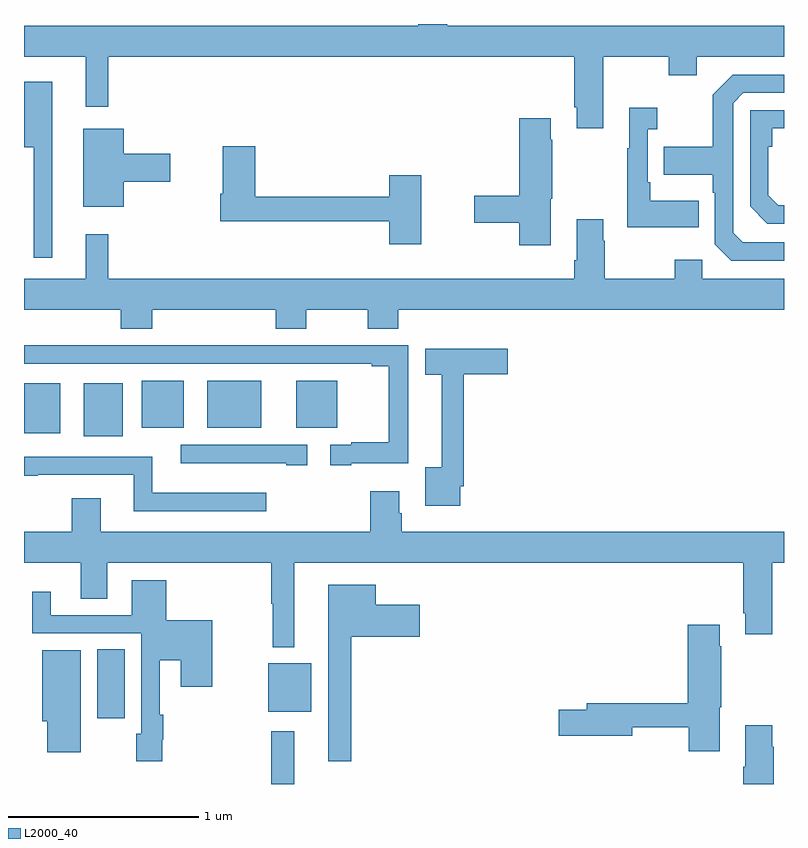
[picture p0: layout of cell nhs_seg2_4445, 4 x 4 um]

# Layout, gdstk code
import gdstk
lib = gdstk.Library(unit=1e-6, precision=1e-09)
def R(c, l, rs):  # rectangles x0, y0, x1, y1
    for r in rs: c.add(gdstk.rectangle(r[:2], r[2:], *l))
def P(c, l, *ps):  # polygons
    for p in ps: c.add(gdstk.Polygon(p, *l))
L2000_40 = (2000, 40)

nhs_seg2_4445 = lib.new_cell('nhs_seg2_4445')
R(nhs_seg2_4445, L2000_40, [(352.302,651.8,352.423,652.078), (351.386,652.146,351.529,652.508), (352.286,652.181,352.513,652.435), (351.314,653.63,351.52,653.908), (351,653.645,351.19,653.908), (351.62,653.675,351.841,653.923), (351.965,653.675,352.249,653.923), (352.433,653.675,352.648,653.923)])
P(nhs_seg2_4445, L2000_40, [(354.049,655.628),(354.394,655.628),(354.394,655.529),(354.541,655.529),(354.541,655.628),(355,655.628),(355,655.792),(353.227,655.792),(353.227,655.8),(353.075,655.8),(353.075,655.792),(351,655.792),(351,655.628),(351.326,655.628),(351.326,655.365),(351.443,655.365),(351.443,655.628),(353.897,655.628),(353.897,655.363),(353.909,655.363),(353.909,655.251),(354.049,655.251)],
  [(355,654.651),(354.783,654.651),(354.732,654.702),(354.732,655.383),(354.786,655.437),(355,655.437),(355,655.533),(354.729,655.533),(354.624,655.427),(354.624,655.155),(354.367,655.155),(354.367,655.007),(354.624,655.007),(354.624,654.911),(354.636,654.911),(354.636,654.642),(354.723,654.555),(355,654.555)],
  [(351.148,655.495),(351,655.495),(351,655.151),(351.051,655.151),(351.051,654.57),(351.148,654.57)],
  [(354.551,654.871),(354.295,654.871),(354.295,654.967),(354.282,654.967),(354.282,655.247),(354.334,655.247),(354.334,655.36),(354.185,655.36),(354.185,655.147),(354.174,655.147),(354.174,654.731),(354.551,654.731)],
  [(355,654.847),(354.971,654.847),(354.918,654.9),(354.918,655.154),(354.938,655.154),(354.938,655.251),(355,655.251),(355,655.347),(354.822,655.347),(354.822,654.84),(354.912,654.75),(355,654.75)],
  [(353.773,654.879),(353.781,654.879),(353.781,655.19),(353.773,655.19),(353.773,655.303),(353.606,655.303),(353.606,654.896),(353.37,654.896),(353.37,654.754),(353.606,654.754),(353.606,654.636),(353.773,654.636)],
  [(351.526,654.971),(351.769,654.971),(351.769,655.118),(351.526,655.118),(351.526,655.249),(351.311,655.249),(351.311,654.839),(351.526,654.839)],
  [(353.092,655.003),(352.922,655.003),(352.922,654.89),(352.217,654.89),(352.217,655.156),(352.046,655.156),(352.046,654.907),(352.034,654.907),(352.034,654.762),(352.922,654.762),(352.922,654.642),(353.092,654.642)],
  [(351.674,654.296),(352.325,654.296),(352.325,654.197),(352.485,654.197),(352.485,654.296),(352.81,654.296),(352.81,654.197),(352.97,654.197),(352.97,654.296),(355,654.296),(355,654.46),(354.57,654.46),(354.57,654.559),(354.424,654.559),(354.424,654.46),(354.057,654.46),(354.057,654.659),(354.049,654.659),(354.049,654.772),(353.909,654.772),(353.909,654.556),(353.897,654.556),(353.897,654.46),(351.443,654.46),(351.443,654.694),(351.326,654.694),(351.326,654.46),(351,654.46),(351,654.296),(351.509,654.296),(351.509,654.197),(351.674,654.197)],
  [(352.723,653.489),(353.023,653.489),(353.023,654.108),(352.721,654.108),(352.721,654.11),(352.573,654.11),(352.573,654.108),(352.241,654.108),(352.241,654.11),(351.757,654.11),(351.757,654.108),(351.425,654.108),(351.425,654.11),(351,654.11),(351,654.012),(352.829,654.012),(352.829,654),(352.921,654),(352.921,653.599),(352.723,653.599),(352.723,653.586),(352.611,653.586),(352.611,653.478),(352.723,653.478)],
  [(353.296,653.368),(353.315,653.368),(353.315,653.957),(353.545,653.957),(353.545,654.091),(353.111,654.091),(353.111,653.954),(353.198,653.954),(353.198,653.467),(353.111,653.467),(353.111,653.264),(353.296,653.264)],
  [(352.492,653.586),(351.825,653.586),(351.825,653.489),(352.379,653.489),(352.379,653.478),(352.492,653.478)],
  [(352.276,653.332),(351.676,653.332),(351.676,653.523),(351,653.523),(351,653.422),(351.073,653.422),(351.073,653.427),(351.578,653.427),(351.578,653.235),(352.276,653.235)],
  [(352.423,652.964),(354.785,652.964),(354.785,652.699),(354.797,652.699),(354.797,652.587),(354.937,652.587),(354.937,652.964),(355,652.964),(355,653.128),(352.988,653.128),(352.988,653.226),(352.975,653.226),(352.975,653.341),(352.823,653.341),(352.823,653.128),(351.403,653.128),(351.403,653.305),(351.251,653.305),(351.251,653.128),(351,653.128),(351,652.964),(351.299,652.964),(351.299,652.774),(351.439,652.774),(351.439,652.964),(352.302,652.964),(352.302,652.748),(352.309,652.748),(352.309,652.52),(352.423,652.52)],
  [(351.727,652.033),(351.734,652.033),(351.734,652.165),(351.714,652.165),(351.714,652.451),(351.824,652.451),(351.824,652.311),(351.99,652.311),(351.99,652.663),(351.748,652.663),(351.748,652.873),(351.566,652.873),(351.566,652.689),(351.142,652.689),(351.142,652.813),(351.044,652.813),(351.044,652.593),(351.618,652.593),(351.618,652.065),(351.592,652.065),(351.592,651.921),(351.727,651.921)],
  [(352.723,652.574),(353.083,652.574),(353.083,652.744),(352.852,652.744),(352.852,652.849),(352.601,652.849),(352.601,651.921),(352.723,651.921)],
  [(354.661,652.203),(354.669,652.203),(354.669,652.526),(354.661,652.526),(354.661,652.639),(354.494,652.639),(354.494,652.226),(353.963,652.226),(353.963,652.19),(353.814,652.19),(353.814,652.055),(354.202,652.055),(354.202,652.098),(354.499,652.098),(354.499,651.972),(354.661,651.972)],
  [(351.298,652.504),(351.095,652.504),(351.095,652.131),(351.122,652.131),(351.122,651.968),(351.298,651.968)],
  [(354.945,651.995),(354.937,651.995),(354.937,652.108),(354.797,652.108),(354.797,651.892),(354.785,651.892),(354.785,651.8),(354.945,651.8)])

lib.write_gds('nhs_seg2_4445.gds')
